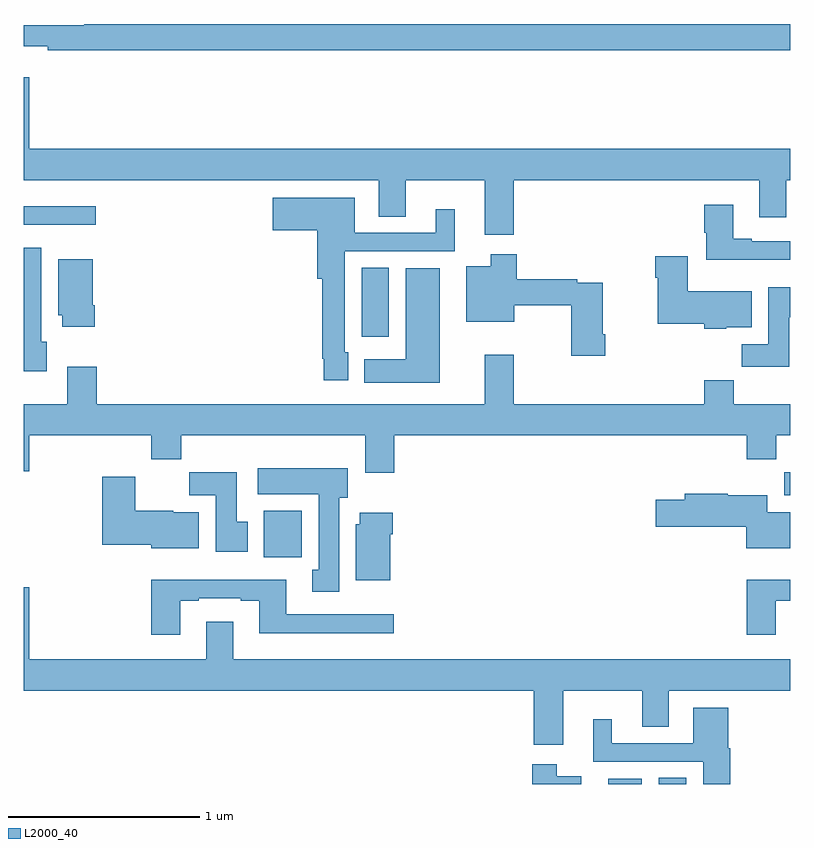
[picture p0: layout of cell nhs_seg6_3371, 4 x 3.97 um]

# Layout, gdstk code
import gdstk
lib = gdstk.Library(unit=1e-6, precision=1e-09)
def R(c, l, rs):  # rectangles x0, y0, x1, y1
    for r in rs: c.add(gdstk.rectangle(r[:2], r[2:], *l))
def P(c, l, *ps):  # polygons
    for p in ps: c.add(gdstk.Polygon(p, *l))
L2000_40 = (2000, 40)

nhs_seg6_3371 = lib.new_cell('nhs_seg6_3371')
R(nhs_seg6_3371, L2000_40, [(312.05,961.5,312.226,961.528), (312.314,961.5,312.457,961.532), (310.253,962.684,310.45,962.926), (312.97,963.008,313,963.127), (310.763,963.834,310.906,964.196), (309,964.419,309.376,964.516)])
P(nhs_seg6_3371, L2000_40, [(313,965.468),(309.314,965.468),(309.314,965.461),(309,965.461),(309,965.351),(309.124,965.351),(309.124,965.332),(313,965.332)],
  [(309,965.191),(309,964.652),(310.853,964.652),(310.853,964.462),(310.993,964.462),(310.993,964.652),(311.405,964.652),(311.405,964.368),(311.558,964.368),(311.558,964.652),(312.839,964.652),(312.839,964.458),(312.979,964.458),(312.979,964.652),(313,964.652),(313,964.816),(309.028,964.816),(309.028,965.191)],
  [(310.693,963.753),(310.674,963.753),(310.674,964.281),(311.248,964.281),(311.248,964.501),(311.15,964.501),(311.15,964.377),(310.726,964.377),(310.726,964.561),(310.299,964.561),(310.299,964.391),(310.532,964.391),(310.532,964.139),(310.558,964.139),(310.558,963.721),(310.566,963.721),(310.566,963.609),(310.693,963.609)],
  [(313,964.335),(312.799,964.335),(312.799,964.348),(312.703,964.348),(312.703,964.525),(312.551,964.525),(312.551,964.377),(312.563,964.377),(312.563,964.238),(313,964.238)],
  [(309.118,963.81),(309.091,963.81),(309.091,964.3),(309,964.3),(309,963.656),(309.118,963.656)],
  [(312.035,963.847),(312.022,963.847),(312.022,964.116),(311.888,964.116),(311.888,964.136),(311.573,964.136),(311.573,964.267),(311.438,964.267),(311.438,964.204),(311.309,964.204),(311.309,963.914),(311.56,963.914),(311.56,964),(311.857,964),(311.857,963.735),(312.035,963.735)],
  [(312.666,963.884),(312.799,963.884),(312.799,964.072),(312.466,964.072),(312.466,964.255),(312.296,964.255),(312.296,964.142),(312.308,964.142),(312.308,963.902),(312.552,963.902),(312.552,963.878),(312.666,963.878)],
  [(309.371,964),(309.358,964),(309.358,964.24),(309.179,964.24),(309.179,963.948),(309.2,963.948),(309.2,963.888),(309.371,963.888)],
  [(311.17,964.192),(310.994,964.192),(310.994,963.718),(310.778,963.718),(310.778,963.596),(311.17,963.596)],
  [(312.997,963.937),(313,963.937),(313,964.093),(312.887,964.093),(312.887,963.796),(312.748,963.796),(312.748,963.678),(312.997,963.678)],
  [(310.934,963.32),(312.773,963.32),(312.773,963.196),(312.929,963.196),(312.929,963.32),(313,963.32),(313,963.484),(312.707,963.484),(312.707,963.608),(312.551,963.608),(312.551,963.484),(311.558,963.484),(311.558,963.742),(311.405,963.742),(311.405,963.484),(309.38,963.484),(309.38,963.679),(309.227,963.679),(309.227,963.484),(309,963.484),(309,963.132),(309.028,963.132),(309.028,963.32),(309.665,963.32),(309.665,963.196),(309.821,963.196),(309.821,963.32),(310.781,963.32),(310.781,963.126),(310.934,963.126)],
  [(310.645,962.994),(310.69,962.994),(310.69,963.148),(310.221,963.148),(310.221,963.014),(310.538,963.014),(310.538,962.618),(310.505,962.618),(310.505,962.505),(310.645,962.505)],
  [(310.168,962.868),(310.111,962.868),(310.111,963.127),(309.862,963.127),(309.862,963.008),(310.001,963.008),(310.001,962.712),(310.168,962.712)],
  [(309.913,962.92),(309.78,962.92),(309.78,962.926),(309.58,962.926),(309.58,963.103),(309.41,963.103),(309.41,962.75),(309.666,962.75),(309.666,962.732),(309.913,962.732)],
  [(313,962.92),(312.88,962.92),(312.88,963.007),(312.674,963.007),(312.674,963.015),(312.449,963.015),(312.449,962.985),(312.3,962.985),(312.3,962.843),(312.77,962.843),(312.77,962.732),(313,962.732)],
  [(310.912,962.804),(310.925,962.804),(310.925,962.917),(310.754,962.917),(310.754,962.856),(310.733,962.856),(310.733,962.564),(310.912,962.564)],
  [(312.925,962.457),(313,962.457),(313,962.566),(312.773,962.566),(312.773,962.28),(312.925,962.28)],
  [(309.817,962.457),(309.913,962.457),(309.913,962.469),(310.133,962.469),(310.133,962.457),(310.229,962.457),(310.229,962.288),(310.93,962.288),(310.93,962.385),(310.369,962.385),(310.369,962.566),(309.665,962.566),(309.665,962.28),(309.817,962.28)],
  [(310.093,962.347),(309.953,962.347),(309.953,962.152),(309.028,962.152),(309.028,962.527),(309,962.527),(309,961.988),(311.663,961.988),(311.663,961.704),(311.815,961.704),(311.815,961.988),(312.227,961.988),(312.227,961.798),(312.367,961.798),(312.367,961.988),(313,961.988),(313,962.152),(310.093,962.152)],
  [(312.689,961.686),(312.676,961.686),(312.676,961.897),(312.494,961.897),(312.494,961.713),(312.07,961.713),(312.07,961.837),(311.972,961.837),(311.972,961.617),(312.546,961.617),(312.546,961.5),(312.689,961.5)],
  [(311.911,961.54),(311.782,961.54),(311.782,961.603),(311.653,961.603),(311.653,961.5),(311.911,961.5)])

lib.write_gds('nhs_seg6_3371.gds')
